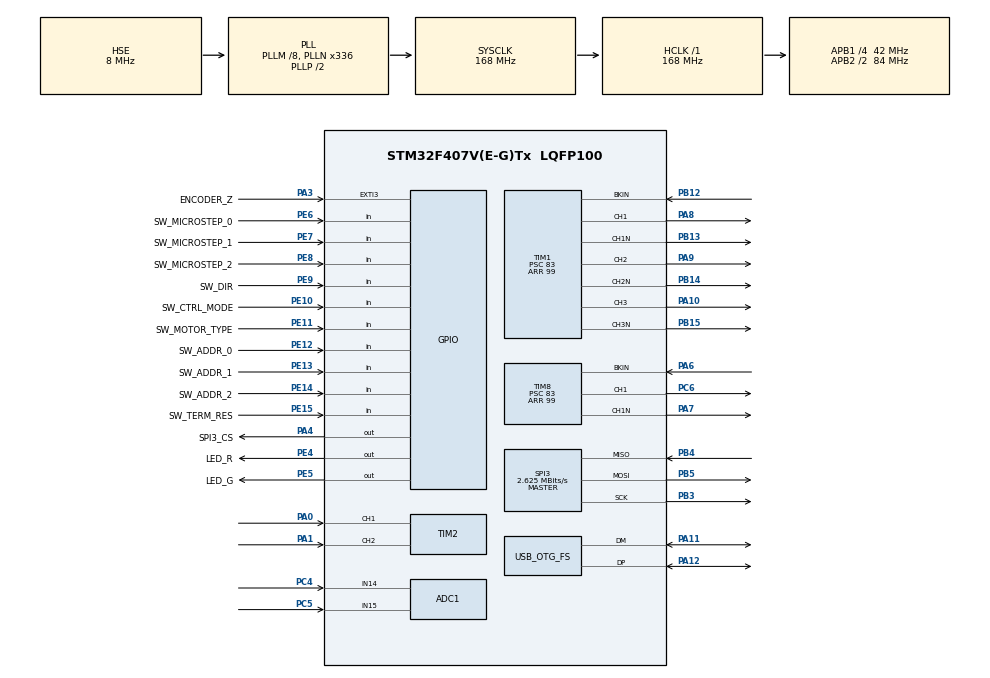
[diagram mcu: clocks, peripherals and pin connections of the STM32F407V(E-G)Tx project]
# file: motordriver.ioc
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ADC1.Channel-0\#ChannelRegularConversion=ADC_CHANNEL_14
ADC1.Channel-1\#ChannelInjectedConversion=ADC_CHANNEL_14
ADC1.Channel-2\#ChannelInjectedConversion=ADC_CHANNEL_15
ADC1.EOCSelection=ADC_EOC_SEQ_CONV
ADC1.ExternalTrigInjecConv=ADC_EXTERNALTRIGINJECCONV_T1_TRGO
ADC1.ExternalTrigInjecConvEdge=ADC_EXTERNALTRIGINJECCONVEDGE_RISING
ADC1.InjNumberOfConversion=2
ADC1.InjectedOffset-1\#ChannelInjectedConversion=0
ADC1.InjectedOffset-2\#ChannelInjectedConversion=0
ADC1.InjectedRank-1\#ChannelInjectedConversion=1
ADC1.InjectedRank-2\#ChannelInjectedConversion=2
ADC1.NbrOfConversionFlag=1
ADC1.Rank-0\#ChannelRegularConversion=1
ADC1.SamplingTime-0\#ChannelRegularConversion=ADC_SAMPLETIME_3CYCLES
ADC1.SamplingTime-1\#ChannelInjectedConversion=ADC_SAMPLETIME_56CYCLES
ADC1.SamplingTime-2\#ChannelInjectedConversion=ADC_SAMPLETIME_56CYCLES
ADC1.ScanConvMode=ENABLE
ADC1.master=1
Mcu.Family=STM32F4
Mcu.Name=STM32F407V(E-G)Tx
Mcu.Package=LQFP100
NVIC.ADC_IRQn=true\:4\:0\:true\:false\:true\:true\:true\:true
NVIC.EXTI3_IRQn=true\:6\:0\:true\:false\:true\:true\:true\:true
NVIC.OTG_FS_IRQn=true\:7\:0\:true\:false\:true\:false\:true\:true
NVIC.PriorityGroup=NVIC_PRIORITYGROUP_4
NVIC.TIM2_IRQn=true\:5\:0\:true\:false\:true\:true\:true\:true
NVIC.TIM6_DAC_IRQn=true\:5\:0\:true\:false\:true\:true\:true\:true
PA0-WKUP.GPIO_PuPd=GPIO_NOPULL
PA0-WKUP.GPIO_Speed=GPIO_SPEED_FREQ_HIGH
PA0-WKUP.Signal=S_TIM2_CH1_ETR
PA1.GPIO_Speed=GPIO_SPEED_FREQ_HIGH
PA1.Signal=S_TIM2_CH2
PA10.Signal=S_TIM1_CH3
PA11.Mode=Device_Only
PA11.Signal=USB_OTG_FS_DM
PA12.Mode=Device_Only
PA12.Signal=USB_OTG_FS_DP
PA13.Mode=Serial_Wire
PA13.Signal=SYS_JTMS-SWDIO
PA14.Mode=Serial_Wire
PA14.Signal=SYS_JTCK-SWCLK
PA3.GPIO_Label=ENCODER_Z
PA3.GPIO_ModeDefaultEXTI=GPIO_MODE_IT_RISING
PA3.Signal=GPXTI3
PA4.GPIO_Label=SPI3_CS
PA4.GPIO_Speed=GPIO_SPEED_FREQ_MEDIUM
PA4.PinState=GPIO_PIN_SET
PA4.Signal=GPIO_Output
PA6.GPIO_PuPd=GPIO_PULLUP
PA6.Mode=Activate-Break-Input
PA6.Signal=TIM8_BKIN
PA7.Mode=PWM Generation1 CH1 CH1N
PA7.Signal=TIM8_CH1N
PA8.Signal=S_TIM1_CH1
PA9.Signal=S_TIM1_CH2
PB12.GPIO_PuPd=GPIO_PULLUP
PB12.Mode=Activate-Break-Input
PB12.Signal=TIM1_BKIN
PB13.Mode=PWM Generation1 CH1 CH1N
PB13.Signal=TIM1_CH1N
PB14.Mode=PWM Generation2 CH2 CH2N
PB14.Signal=TIM1_CH2N
PB15.Mode=PWM Generation3 CH3 CH3N
PB15.Signal=TIM1_CH3N
PB3.Mode=Full_Duplex_Master
PB3.Signal=SPI3_SCK
PB4.Mode=Full_Duplex_Master
PB4.Signal=SPI3_MISO
PB5.Mode=Full_Duplex_Master
PB5.Signal=SPI3_MOSI
PC4.Signal=ADCx_IN14
PC5.Signal=ADCx_IN15
PC6.Signal=S_TIM8_CH1
PE10.GPIO_Label=SW_CTRL_MODE
PE10.GPIO_PuPd=GPIO_PULLUP
PE10.Signal=GPIO_Input
PE11.GPIO_Label=SW_MOTOR_TYPE
PE11.GPIO_PuPd=GPIO_PULLUP
PE11.Signal=GPIO_Input
PE12.GPIO_Label=SW_ADDR_0
PE12.GPIO_PuPd=GPIO_PULLUP
PE12.Signal=GPIO_Input
PE13.GPIO_Label=SW_ADDR_1
PE13.GPIO_PuPd=GPIO_PULLUP
PE13.Signal=GPIO_Input
PE14.GPIO_Label=SW_ADDR_2
PE14.GPIO_PuPd=GPIO_PULLUP
PE14.Signal=GPIO_Input
PE15.GPIO_Label=SW_TERM_RES
PE15.GPIO_PuPd=GPIO_PULLUP
PE15.Signal=GPIO_Input
PE4.GPIO_Label=LED_R
PE4.GPIO_PuPd=GPIO_PULLUP
PE4.PinState=GPIO_PIN_SET
PE4.Signal=GPIO_Output
PE5.GPIO_Label=LED_G
PE5.GPIO_PuPd=GPIO_PULLUP
PE5.PinState=GPIO_PIN_SET
PE5.Signal=GPIO_Output
PE6.GPIO_Label=SW_MICROSTEP_0
PE6.GPIO_PuPd=GPIO_PULLUP
PE6.Signal=GPIO_Input
PE7.GPIO_Label=SW_MICROSTEP_1
PE7.GPIO_PuPd=GPIO_PULLUP
PE7.Signal=GPIO_Input
PE8.GPIO_Label=SW_MICROSTEP_2
PE8.GPIO_Mode=GPIO_MODE_INPUT
PE8.GPIO_PuPd=GPIO_PULLUP
PE8.Signal=GPIO_Input
PE9.GPIO_Label=SW_DIR
PE9.GPIO_PuPd=GPIO_PULLUP
PE9.Signal=GPIO_Input
PH0-OSC_IN.Mode=HSE-External-Oscillator
PH0-OSC_IN.Signal=RCC_OSC_IN
PH1-OSC_OUT.Mode=HSE-External-Oscillator
PH1-OSC_OUT.Signal=RCC_OSC_OUT
ProjectManager.HeapSize=0x600
ProjectManager.StackSize=0x400
ProjectManager.TargetToolchain=MDK-ARM V5.32
RCC.48MHZClocksFreq_Value=48000000
RCC.AHBFreq_Value=168000000
RCC.APB1CLKDivider=RCC_HCLK_DIV4
RCC.APB1Freq_Value=42000000
RCC.APB1TimFreq_Value=84000000
RCC.APB2CLKDivider=RCC_HCLK_DIV2
RCC.APB2Freq_Value=84000000
RCC.APB2TimFreq_Value=168000000
RCC.CortexFreq_Value=168000000
RCC.HCLKFreq_Value=168000000
RCC.HSE_VALUE=8000000
RCC.HSI_VALUE=16000000
RCC.LSE_VALUE=32768
RCC.PLLM=8
RCC.PLLN=336
RCC.PLLQ=7
RCC.SYSCLKFreq_VALUE=168000000
RCC.SYSCLKSource=RCC_SYSCLKSOURCE_PLLCLK
RCC.VCOOutputFreq_Value=336000000
SH.ADCx_IN14.0=ADC1_IN14,IN14
SH.ADCx_IN15.0=ADC1_IN15,IN15
SH.S_TIM1_CH1.0=TIM1_CH1,PWM Generation1 CH1 CH1N
SH.S_TIM1_CH2.0=TIM1_CH2,PWM Generation2 CH2 CH2N
SH.S_TIM1_CH3.0=TIM1_CH3,PWM Generation3 CH3 CH3N
SH.S_TIM2_CH1_ETR.0=TIM2_CH1,Encoder_Interface
SH.S_TIM2_CH2.0=TIM2_CH2,Encoder_Interface
SH.S_TIM8_CH1.0=TIM8_CH1,PWM Generation1 CH1 CH1N
SPI3.BaudRatePrescaler=SPI_BAUDRATEPRESCALER_16
SPI3.CLKPhase=SPI_PHASE_2EDGE
SPI3.CLKPolarity=SPI_POLARITY_HIGH
SPI3.CalculateBaudRate=2.625 MBits/s
SPI3.DataSize=SPI_DATASIZE_16BIT
SPI3.Direction=SPI_DIRECTION_2LINES
SPI3.Mode=SPI_MODE_MASTER
SPI3.VirtualType=VM_MASTER
TIM1.AutomaticOutput=TIM_AUTOMATICOUTPUT_ENABLE
TIM1.BreakPolarity=TIM_BREAKPOLARITY_LOW
TIM1.BreakState=TIM_BREAK_ENABLE
TIM1.Channel-PWM\ Generation1\ CH1\ CH1N=TIM_CHANNEL_1
TIM1.Channel-PWM\ Generation2\ CH2\ CH2N=TIM_CHANNEL_2
TIM1.Channel-PWM\ Generation3\ CH3\ CH3N=TIM_CHANNEL_3
TIM1.Channel-PWM\ Generation4\ No\ Output=TIM_CHANNEL_4
TIM1.OCIdleState_1=TIM_OCIDLESTATE_SET
TIM1.OCIdleState_2=TIM_OCIDLESTATE_SET
TIM1.OCIdleState_3=TIM_OCIDLESTATE_SET
TIM1.OCMode_PWM-PWM\ Generation4\ No\ Output=TIM_OCMODE_PWM2
TIM1.OCNIdleState_1=TIM_OCNIDLESTATE_RESET
TIM1.OCNIdleState_2=TIM_OCNIDLESTATE_RESET
TIM1.OCNIdleState_3=TIM_OCNIDLESTATE_RESET
TIM1.OCNPolarity_1=TIM_OCNPOLARITY_LOW
TIM1.OCNPolarity_2=TIM_OCNPOLARITY_LOW
TIM1.OCNPolarity_3=TIM_OCNPOLARITY_LOW
TIM1.OffStateIDLEMode=TIM_OSSI_ENABLE
TIM1.OffStateRunMode=TIM_OSSR_ENABLE
TIM1.Period=99
TIM1.Prescaler=83
TIM1.Pulse-PWM\ Generation1\ CH1\ CH1N=49
TIM1.Pulse-PWM\ Generation2\ CH2\ CH2N=49
TIM1.Pulse-PWM\ Generation3\ CH3\ CH3N=49
TIM1.Pulse-PWM\ Generation4\ No\ Output=50
TIM1.TIM_MasterOutputTrigger=TIM_TRGO_OC4REF
TIM2.EncoderMode=TIM_ENCODERMODE_TI12
TIM2.IC1Filter=6
TIM2.IC2Filter=6
TIM6.Period=99
TIM6.Prescaler=83
TIM8.BreakPolarity=TIM_BREAKPOLARITY_LOW
TIM8.BreakState=TIM_BREAK_ENABLE
TIM8.Channel-PWM\ Generation1\ CH1\ CH1N=TIM_CHANNEL_1
TIM8.OCIdleState_1=TIM_OCIDLESTATE_SET
TIM8.OCNIdleState_1=TIM_OCNIDLESTATE_RESET
TIM8.OCNPolarity_1=TIM_OCNPOLARITY_LOW
TIM8.OffStateIDLEMode=TIM_OSSI_ENABLE
TIM8.OffStateRunMode=TIM_OSSR_ENABLE
TIM8.Period=99
TIM8.Prescaler=83
USB_DEVICE.CLASS_NAME_FS=CDC
USB_DEVICE.VirtualMode-CDC_FS=Cdc
USB_DEVICE.VirtualModeFS=Cdc_FS
USB_OTG_FS.VirtualMode=Device_Only
VP_TIM1_VS_ClockSourceINT.Mode=Internal
VP_TIM1_VS_no_output4.Mode=PWM Generation4 No Output
VP_TIM6_VS_ClockSourceINT.Mode=Enable_Timer
VP_TIM8_VS_ClockSourceINT.Mode=Internal
VP_USB_DEVICE_VS_USB_DEVICE_CDC_FS.Mode=CDC_FS
board=custom

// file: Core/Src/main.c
/* USER CODE BEGIN Header */
/**
  ******************************************************************************
  * @file           : main.c
  * @brief          : Main program body
  ******************************************************************************
  * @attention
  *
  * Copyright (c) 2026 STMicroelectronics.
  * All rights reserved.
  *
  * This software is licensed under terms that can be found in the LICENSE file
  * in the root directory of this software component.
  * If no LICENSE file comes with this software, it is provided AS-IS.
  *
  ******************************************************************************
  */
/* USER CODE END Header */
#include "main.h"
#include "adc.h"
#include "spi.h"
#include "tim.h"
#include "usb_device.h"
#include "gpio.h"

/* USER CODE BEGIN Includes */
#include "dip_switch.h"
#include "FOC.h"
#include "adc_task.h"
#include "motion_trap2.h"
#include "vofa.h"
#include "math.h"
#include "mt6816.h"
#include "pid.h"
/* USER CODE END Includes */

/* USER CODE BEGIN PD */

#ifndef M_PI
#define M_PI 3.14159265358979323846
#endif

#define CTRL_DT             0.0001f   // TIM6 = 10kHz
#define ELEC_CYCLE_PER_REV  50.0f     // 1.8°步进常用：每机械转 50 个电角周期

/* USER CODE END PD */

/* USER CODE BEGIN PV */
DipSwitch_TypeDef dip_switch;

// m1_foc 在 FOC.c 里定义，这里直接用 extern
extern foc_TypeDef m1_foc;
extern uint16_t angledata[200];

extern int16_t Scope[200];

float vol = 24.0f;
uint32_t add_angle;//角度累加，初始化用

volatile float g_theta_cmd = 0.0f;
volatile float g_rpm_ref = 1000.0f;
volatile float g_uq_cmd = 3.0f;   // 先从小一点开始，后面再加

//计算速度
volatile int16_t motor_speed_diff = 0;
volatile float motor_speed_rps = 0.0f;
volatile float motor_speed_rpm = 0.0f;

volatile uint16_t b_step = 0;
volatile float Uq_ref = 0.0f;
volatile float Ud_ref = 0.0f;     // 先沿用你现在能跑起来的工作点
volatile uint8_t speed_div = 0;     // 10kHz / 20 = 500Hz, 对应2ms
/* USER CODE END PV */

void SystemClock_Config(void);

int main(void)
{

  /* MCU Configuration--------------------------------------------------------*/

  /* Reset of all peripherals, Initializes the Flash interface and the Systick. */
  HAL_Init();

  /* Configure the system clock */
  SystemClock_Config();

  /* Initialize all configured peripherals */
  MX_GPIO_Init();
  MX_USB_DEVICE_Init();
  MX_TIM1_Init();
  MX_TIM8_Init();
  MX_TIM6_Init();
  MX_ADC1_Init();
  MX_TIM2_Init();
  MX_SPI3_Init();
  /* USER CODE BEGIN 2 */
  VOFA_Init();

  MT6816_SPI_CS_H();   // 先释放片选
  HAL_Delay(10);
  // 先确认编码器在线
  if (check_mt6816())
  {
    mt6816_flag = 1;
 // 先校准，写Flash，最后自动复位
//        REIN_mt6816_spi_data_Signal_Init();
  }
  else
  {
    mt6816_flag = 0;
    Error_Handler();
  }
  // 正常运行初始化：读取Flash里的DIR和补偿表
  FOC_Init();

  PID_Controller_Init(&speed_pi, 0.004f, 0.00004f, 0.0f, 800.0f, -16.0f, 16.0f);
  // 目标速度，单位 rpm
  speed_pi.target = 800.0f;
  // 初始输出
  Uq_ref = 0.0f;
//  // 初始输出清零
  set_uduq(&m1_foc, 0, 0);
  FOC_AllOff();

//  // 启动控制中断
  HAL_TIM_Base_Start_IT(&htim6);

  /* USER CODE END 2 */

  /* Infinite loop */
  /* USER CODE BEGIN WHILE */
  while (1)
  {
static uint32_t last_print = 0;
uint32_t now = HAL_GetTick();

if (now - last_print >= 10)
{
    last_print = now;

    printf("target=%.2f, actual=%.2f, uq=%.2f, enc=%u, angle=%u, step=%u\r\n",
           speed_pi.target,
           speed_pi.actual_value,
           Uq_ref,
           mt6816_count,
           m1_foc.angle,
           b_step);
}

    /* USER CODE END WHILE */

  }
}

void SystemClock_Config(void)
{
  RCC_OscInitTypeDef RCC_OscInitStruct = {0};
  RCC_ClkInitTypeDef RCC_ClkInitStruct = {0};

  /** Configure the main internal regulator output voltage
  */
  __HAL_RCC_PWR_CLK_ENABLE();
  __HAL_PWR_VOLTAGESCALING_CONFIG(PWR_REGULATOR_VOLTAGE_SCALE1);

  /** Initializes the RCC Oscillators according to the specified parameters
  * in the RCC_OscInitTypeDef structure.
  */
  RCC_OscInitStruct.OscillatorType = RCC_OSCILLATORTYPE_HSE;
  RCC_OscInitStruct.HSEState = RCC_HSE_ON;
  RCC_OscInitStruct.PLL.PLLState = RCC_PLL_ON;
  RCC_OscInitStruct.PLL.PLLSource = RCC_PLLSOURCE_HSE;
  RCC_OscInitStruct.PLL.PLLM = 8;
  RCC_OscInitStruct.PLL.PLLN = 336;
  RCC_OscInitStruct.PLL.PLLP = RCC_PLLP_DIV2;
  RCC_OscInitStruct.PLL.PLLQ = 7;
  if (HAL_RCC_OscConfig(&RCC_OscInitStruct) != HAL_OK)
  {
    Error_Handler();
  }

  /** Initializes the CPU, AHB and APB buses clocks
  */
  RCC_ClkInitStruct.ClockType = RCC_CLOCKTYPE_HCLK|RCC_CLOCKTYPE_SYSCLK
                              |RCC_CLOCKTYPE_PCLK1|RCC_CLOCKTYPE_PCLK2;
  RCC_ClkInitStruct.SYSCLKSource = RCC_SYSCLKSOURCE_PLLCLK;
  RCC_ClkInitStruct.AHBCLKDivider = RCC_SYSCLK_DIV1;
  RCC_ClkInitStruct.APB1CLKDivider = RCC_HCLK_DIV4;
  RCC_ClkInitStruct.APB2CLKDivider = RCC_HCLK_DIV2;

  if (HAL_RCC_ClockConfig(&RCC_ClkInitStruct, FLASH_LATENCY_5) != HAL_OK)
  {
    Error_Handler();
  }
}

/* USER CODE BEGIN 4 */
uint16_t a_angle=0;

// TIM6中断回调函数，10kHz / 100us
void HAL_TIM_PeriodElapsedCallback(TIM_HandleTypeDef *htim)
{
    if (htim->Instance == TIM6)
    {
        // 1. 读取当前编码器角度
        mt6816_count = (uint16_t)REIN_MT6816_GetAngleData();

        // 2. 每20次中断更新一次速度（10kHz / 20 = 500Hz，周期2ms）
        speed_div++;
        if (speed_div >= 20)
        {
            speed_div = 0;

            Encoder_Update();
            speed_pi.actual_value = Calculate_Speed(0.002f);

            float speed_error = speed_pi.target - speed_pi.actual_value;
            Uq_ref = PID_Controller_Update(&speed_pi, speed_error);
        }

        // 3. 根据编码器位置求当前电角度
        Sector_tracker();

        b_step = (uint16_t)((m1_foc.angle
                           + 256 * (m1_foc.angle_sector % 4)
                           + m1_foc.lead_angle) % 1024);

        // 4. 直接用速度环输出作为Uq，开环输出
        set_uduq(&m1_foc, Ud_ref, Uq_ref);
        foc_open(&m1_foc, b_step);
    }
}
//void HAL_TIM_IC_CaptureCallback(TIM_HandleTypeDef *htim)
//{

//}

/* USER CODE END 4 */

void Error_Handler(void)
{
  __disable_irq();
  while (1)
  {
  }
}
